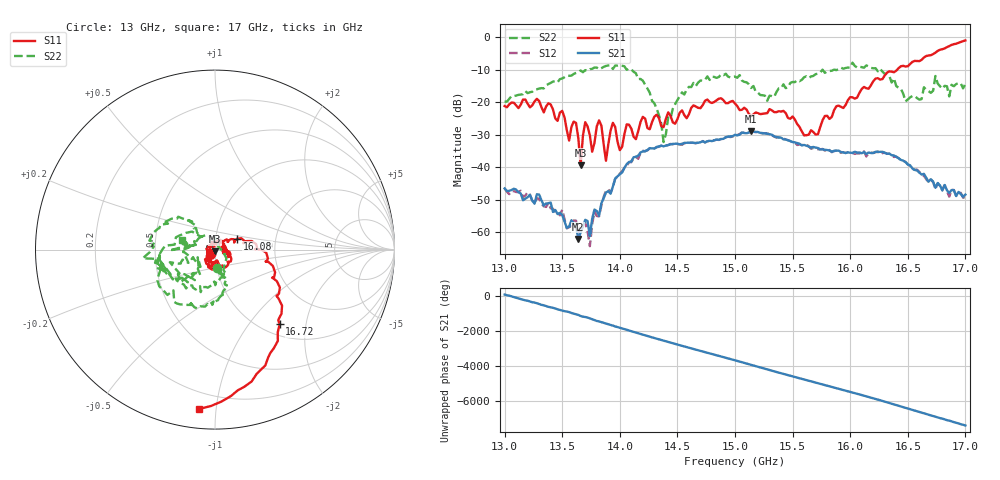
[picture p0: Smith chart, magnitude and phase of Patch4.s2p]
!Keysight Technologies,P9374A,MY57211810,A.19.30.04
!Date: Friday, May 09, 2025 09:04:21
!Correction: S11(Cdelta 2-Port  )
!S21(Cdelta 2-Port  )
!S12(Cdelta 2-Port  )
!S22(Cdelta 2-Port  )
!S2P File: Measurements: S11, S21, S12, S22:
# Hz S  dB  R 50
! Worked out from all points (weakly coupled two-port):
!   201 points, 13 GHz to 17 GHz, reference 50 ohm
!   highest |S21| = -28.89 dB at 15.14 GHz (marker M1); lowest = -62.1 dB at 13.64 GHz (marker M2)
!   lowest |S11| = -39.4 dB at 13.66 GHz (marker M3), VSWR 1.02, Z = 49.8 - j1.04 ohm
!   |S11| at or under -10 dB: start of sweep to 16.41 GHz
!   |S22| runs from -32.3 to -7.8 dB; largest |S21 - S12| = 0.0019
!   S11 on the Smith chart (normalised r, x): 13 GHz: 0.98, -0.17; 16.08 GHz: 1.27, +0.16; 16.72 GHz: 1.20, -1.43; 17 GHz: 0.10, -0.90
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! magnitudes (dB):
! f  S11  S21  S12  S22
! 13 GHz  -21.2  -46.5  -46.4  -19.8
! 13.38 GHz  -20.3  -51.1  -51.1  -14.4
! 13.64 GHz  -31.1  -62.1  -60.0  -10.8
! 13.66 GHz  -39.4  -60.0  -57.8  -10.2
! 13.68 GHz  -30.2  -58.3  -57.9  -10.8
! 13.74 GHz  -30.2  -61.2  -64.3  -9.8
! 13.76 GHz  -35.2  -55.9  -57.6  -9.7
! 13.82 GHz  -25.6  -54.9  -55.1  -9.9
! 13.88 GHz  -38.0  -47.8  -47.2  -8.8
! 13.94 GHz  -26.3  -45.9  -46.1  -9.8
! 14 GHz  -34.7  -42.2  -42.0  -8.6
! 14.06 GHz  -26.8  -39.0  -39.6  -10.0
! 14.34 GHz  -24.9  -33.6  -33.7  -24.0
! 14.38 GHz  -27.7  -33.6  -33.4  -32.3
! 14.54 GHz  -22.5  -32.8  -33.1  -17.0
! 15 GHz  -20.4  -30.0  -30.1  -12.1
! 15.14 GHz  -24.3  -28.9  -29.0  -15.6
! 15.68 GHz  -29.2  -33.8  -34.0  -11.9
! 16.08 GHz  -17.1  -35.4  -35.7  -9.0
! 16.34 GHz  -10.5  -35.8  -35.8  -11.9
! 16.72 GHz  -5.2  -44.4  -44.6  -16.5
! 17 GHz  -1.0  -48.4  -49.1  -14.3
